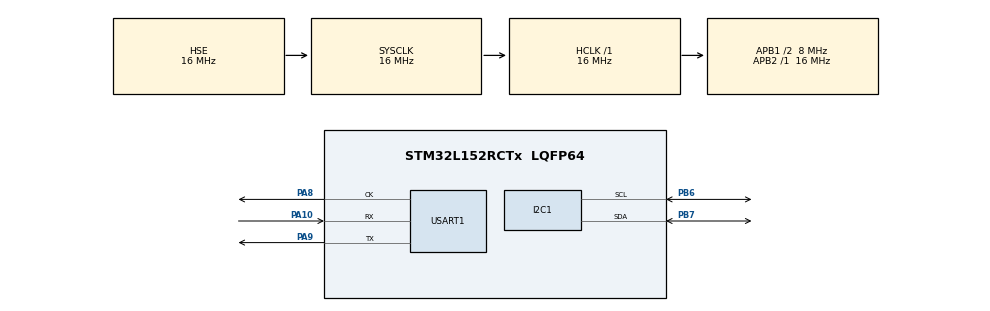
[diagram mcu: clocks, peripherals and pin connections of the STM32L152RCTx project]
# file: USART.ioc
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I2C1.OwnAddress=2
Mcu.Family=STM32L1
Mcu.Name=STM32L152RCTx
Mcu.Package=LQFP64
NVIC.I2C1_EV_IRQn=true\:0\:0\:false\:false\:true\:true\:true
NVIC.PriorityGroup=NVIC_PRIORITYGROUP_4
PA10.Mode=Synchronous
PA10.Signal=USART1_RX
PA13.Mode=Serial_Wire
PA13.Signal=SYS_JTMS-SWDIO
PA14.Mode=Serial_Wire
PA14.Signal=SYS_JTCK-SWCLK
PA8.Mode=Synchronous
PA8.Signal=USART1_CK
PA9.Mode=Synchronous
PA9.Signal=USART1_TX
PB6.Mode=I2C
PB6.Signal=I2C1_SCL
PB7.Mode=I2C
PB7.Signal=I2C1_SDA
PH0-OSC_IN.Mode=HSE-External-Oscillator
PH0-OSC_IN.Signal=RCC_OSC_IN
PH1-OSC_OUT.Mode=HSE-External-Oscillator
PH1-OSC_OUT.Signal=RCC_OSC_OUT
ProjectManager.HeapSize=0x200
ProjectManager.StackSize=0x400
ProjectManager.TargetToolchain=MDK-ARM V5
RCC.48MHZClocksFreq_Value=24000000
RCC.AHBFreq_Value=16000000
RCC.APB1CLKDivider=RCC_HCLK_DIV2
RCC.APB1Freq_Value=8000000
RCC.APB1TimFreq_Value=16000000
RCC.APB2Freq_Value=16000000
RCC.APB2TimFreq_Value=16000000
RCC.HCLKFreq_Value=16000000
RCC.HSE_VALUE=16000000
RCC.HSICalibrationValue=16
RCC.HSI_VALUE=16000000
RCC.LSE_VALUE=32768
RCC.MSI_VALUE=2097000
RCC.SYSCLKFreq_VALUE=16000000
RCC.SYSCLKSource=RCC_SYSCLKSOURCE_HSE
RCC.VCOOutputFreq_Value=48000000
USART1.CLKLastBit=USART_LASTBIT_ENABLE
USART1.VirtualMode=VM_SYNC
VP_CRC_VS_CRC.Mode=CRC_Activate
board=custom

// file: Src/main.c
/* USER CODE BEGIN Header */
/**
  ******************************************************************************
  * @file           : main.c
  * @brief          : Main program body
  ******************************************************************************
  * @attention
  *
  * <h2><center>&copy; Copyright (c) 2019 STMicroelectronics.
  * All rights reserved.</center></h2>
  *
  * This software component is licensed by ST under BSD 3-Clause license,
  * the "License"; You may not use this file except in compliance with the
  * License. You may obtain a copy of the License at:
  *                        opensource.org/licenses/BSD-3-Clause
  *
  ******************************************************************************
  */
/* USER CODE END Header */

#include "main.h"

CRC_HandleTypeDef hcrc;

I2C_HandleTypeDef hi2c1;

USART_HandleTypeDef husart1;

/* USER CODE BEGIN PV */
uint8_t str_Tx[24] = {0};
uint8_t str_Rx[24] = {0};
int flag = 0;
/* USER CODE END PV */

void SystemClock_Config(void);
static void MX_GPIO_Init(void);
static void MX_CRC_Init(void);
static void MX_USART1_Init(void);
static void MX_I2C1_Init(void);
/* USER CODE BEGIN PFP */
void MK_Processing(uint8_t *s); //
/* USER CODE END PFP */

/* USER CODE BEGIN 0 */
void HAL_I2C_SlaveRxCpltCallback(I2C_HandleTypeDef *hi2c)
{
	if( hi2c == &hi2c1)
  {
    if(hi2c1.XferCount == 0)
    {
			flag = 1;
    }
  }
}
/* USER CODE END 0 */

int main(void)
{
  /* USER CODE BEGIN 1 */
	uint32_t Rx_Message_CRC[6] = {0};
	uint32_t Tx_Message_CRC[5] = {0};
	uint32_t CRC_Rx;
	uint32_t CRC_Tx;
  /* USER CODE END 1 */

  /* MCU Configuration--------------------------------------------------------*/

  /* Reset of all peripherals, Initializes the Flash interface and the Systick. */
  HAL_Init();

  /* Configure the system clock */
  SystemClock_Config();

  /* Initialize all configured peripherals */
  MX_GPIO_Init();
  MX_CRC_Init();
  MX_USART1_Init();
  MX_I2C1_Init();
  /* USER CODE BEGIN 2 */
	//HAL_GPIO_WritePin(GPIOA, GPIO_PIN_1, GPIO_PIN_SET);
  /* USER CODE END 2 */

  /* Infinite loop */
  /* USER CODE BEGIN WHILE */
  while (1)
  {
			//HAL_I2C_Master_Receive_IT(&hi2c1, 2, strReceive, 14);
			HAL_I2C_Slave_Receive_IT(&hi2c1, (uint8_t*) &str_Rx, 24);
			if (flag == 1)
			{
				// Подготовка к вычислению контрольной суммы принятого собщения
				for (int i = 0, j = 0; i < 6; i++, j+=4)
						{
							Rx_Message_CRC[i] = str_Rx[j+3] | (str_Rx[j+2] << 8) | (str_Rx[j+1] << 16) | (str_Rx[j] << 24);
						}

				CRC_Rx = HAL_CRC_Calculate(&hcrc, Rx_Message_CRC, 6); // Вычисление CRC принимаемого сообщения

				if (CRC_Rx == 0) // Если CRC(data+CRC) == 0, то ошибок при передаче не было
				{
						// Успешный прием
						//HAL_GPIO_TogglePin(GPIOB, GPIO_PIN_7);
					//	HAL_GPIO_TogglePin(GPIOA, GPIO_PIN_1);
						HAL_Delay(2000);
					//	HAL_GPIO_TogglePin(GPIOA, GPIO_PIN_1);
						//HAL_GPIO_TogglePin(GPIOB, GPIO_PIN_7);
						/*
							МК	Обработка
						*/
						for (int i = 0; i < 20; i++)
						str_Tx[i] = str_Rx[i];

						MK_Processing(str_Tx);

						for (int i = 0, j = 0; i < 5; i++, j+=4)
						{
							Tx_Message_CRC[i] = str_Tx[j+3] | (str_Tx[j+2] << 8) | (str_Tx[j+1] << 16) | (str_Tx[j] << 24);
						}

						// Формируем новое сообщение с новым CRC
						CRC_Tx = HAL_CRC_Calculate(&hcrc, Tx_Message_CRC, 5);
						for (int i = 20, j = 24; i < 24 ; i++, j-=8)
						str_Tx[i] = (uint8_t)( CRC_Tx >> j);
						HAL_USART_Transmit(&husart1, str_Tx, 24, 1500);
				}
				else
				{
					for (int i = 0; i < 10; i++)
					{
						//HAL_GPIO_TogglePin(GPIOB, GPIO_PIN_7);
						HAL_Delay(500);
					}
				}
				flag = 0;
			}
			HAL_Delay(100);
    /* USER CODE END WHILE */

  }
}

void SystemClock_Config(void)
{
  RCC_OscInitTypeDef RCC_OscInitStruct = {0};
  RCC_ClkInitTypeDef RCC_ClkInitStruct = {0};

  /** Configure the main internal regulator output voltage
  */
  __HAL_PWR_VOLTAGESCALING_CONFIG(PWR_REGULATOR_VOLTAGE_SCALE1);
  /** Initializes the CPU, AHB and APB busses clocks
  */
  RCC_OscInitStruct.OscillatorType = RCC_OSCILLATORTYPE_HSE;
  RCC_OscInitStruct.HSEState = RCC_HSE_ON;
  RCC_OscInitStruct.PLL.PLLState = RCC_PLL_NONE;
  if (HAL_RCC_OscConfig(&RCC_OscInitStruct) != HAL_OK)
  {
    Error_Handler();
  }
  /** Initializes the CPU, AHB and APB busses clocks
  */
  RCC_ClkInitStruct.ClockType = RCC_CLOCKTYPE_HCLK|RCC_CLOCKTYPE_SYSCLK
                              |RCC_CLOCKTYPE_PCLK1|RCC_CLOCKTYPE_PCLK2;
  RCC_ClkInitStruct.SYSCLKSource = RCC_SYSCLKSOURCE_HSE;
  RCC_ClkInitStruct.AHBCLKDivider = RCC_SYSCLK_DIV1;
  RCC_ClkInitStruct.APB1CLKDivider = RCC_HCLK_DIV2;
  RCC_ClkInitStruct.APB2CLKDivider = RCC_HCLK_DIV1;

  if (HAL_RCC_ClockConfig(&RCC_ClkInitStruct, FLASH_LATENCY_0) != HAL_OK)
  {
    Error_Handler();
  }
}

static void MX_CRC_Init(void)
{

  hcrc.Instance = CRC;
  if (HAL_CRC_Init(&hcrc) != HAL_OK)
  {
    Error_Handler();
  }

}

static void MX_I2C1_Init(void)
{

  hi2c1.Instance = I2C1;
  hi2c1.Init.ClockSpeed = 100000;
  hi2c1.Init.DutyCycle = I2C_DUTYCYCLE_2;
  hi2c1.Init.OwnAddress1 = 4;
  hi2c1.Init.AddressingMode = I2C_ADDRESSINGMODE_7BIT;
  hi2c1.Init.DualAddressMode = I2C_DUALADDRESS_DISABLE;
  hi2c1.Init.OwnAddress2 = 0;
  hi2c1.Init.GeneralCallMode = I2C_GENERALCALL_DISABLE;
  hi2c1.Init.NoStretchMode = I2C_NOSTRETCH_DISABLE;
  if (HAL_I2C_Init(&hi2c1) != HAL_OK)
  {
    Error_Handler();
  }

}

static void MX_USART1_Init(void)
{

  husart1.Instance = USART1;
  husart1.Init.BaudRate = 115200;
  husart1.Init.WordLength = USART_WORDLENGTH_8B;
  husart1.Init.StopBits = USART_STOPBITS_1;
  husart1.Init.Parity = USART_PARITY_NONE;
  husart1.Init.Mode = USART_MODE_TX_RX;
  husart1.Init.CLKPolarity = USART_POLARITY_LOW;
  husart1.Init.CLKPhase = USART_PHASE_1EDGE;
  husart1.Init.CLKLastBit = USART_LASTBIT_ENABLE;
  if (HAL_USART_Init(&husart1) != HAL_OK)
  {
    Error_Handler();
  }

}

static void MX_GPIO_Init(void)
{

  /* GPIO Ports Clock Enable */
  __HAL_RCC_GPIOH_CLK_ENABLE();
  __HAL_RCC_GPIOA_CLK_ENABLE();
  __HAL_RCC_GPIOB_CLK_ENABLE();

}

/* USER CODE BEGIN 4 */
void MK_Processing(uint8_t *s)
{
	uint8_t buf = 0;
	for (int i = 19; i >= 0; i--)
		if ((s[i] >= '0' && s[i] <= '9') || s[i] == 0)
		{
			buf = s[i];
			for (int j = i; j < 19; j++)
			s[j] = s[j+1];
			s[19] = buf;
		}
}
/* USER CODE END 4 */

void Error_Handler(void)
{
}

/************************ (C) COPYRIGHT STMicroelectronics *****END OF FILE****/
